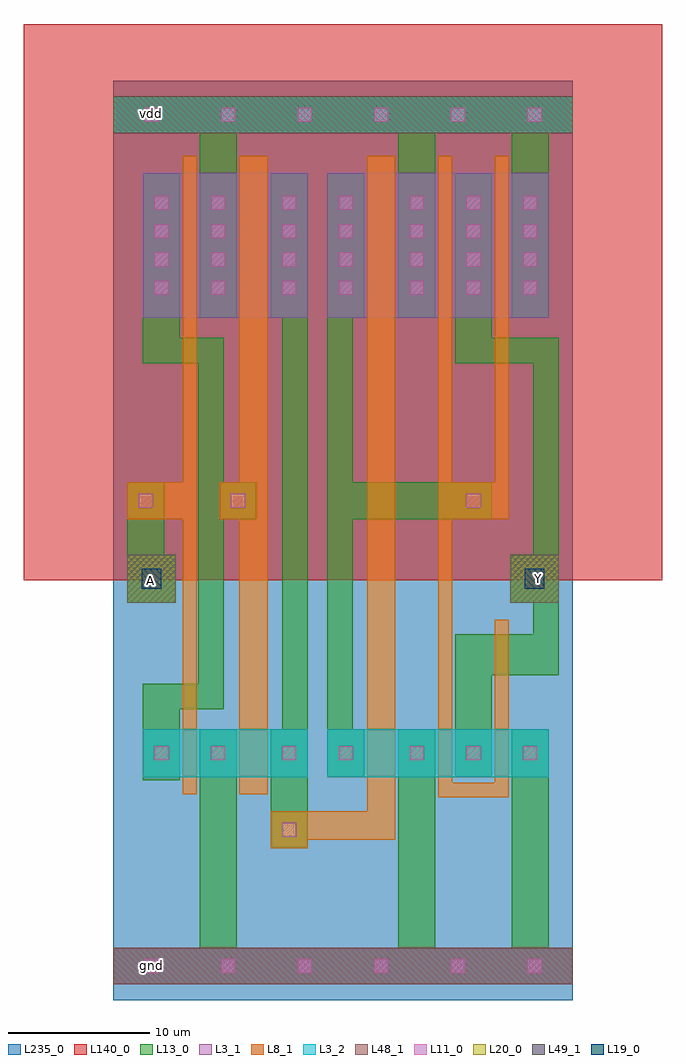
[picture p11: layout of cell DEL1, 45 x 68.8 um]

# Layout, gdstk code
import gdstk
lib = gdstk.Library(unit=1e-6, precision=1e-09)
def R(c, l, rs):  # rectangles x0, y0, x1, y1
    for r in rs: c.add(gdstk.rectangle(r[:2], r[2:], *l))
def A(c, l, x, y, w, h, nx, ny, dx, dy):  # array of equal rectangles
    R(c, l, [(x+i*dx, y+j*dy, x+i*dx+w, y+j*dy+h) for i in range(nx) for j in range(ny)])
def P(c, l, *ps):  # polygons
    for p in ps: c.add(gdstk.Polygon(p, *l))
L3_1 = (3, 1)
L3_2 = (3, 2)
L8_1 = (8, 1)
L11_0 = (11, 0)
L13_0 = (13, 0)
L19_0 = (19, 0)
L20_0 = (20, 0)
L48_1 = (48, 1)
L49_1 = (49, 1)
L140_0 = (140, 0)
L235_0 = (235, 0)

del1 = lib.new_cell('DEL1')
R(del1, L3_1, [(0,1.1,16.2,3.7), (16.2,1.1,32.4,3.7), (2.1,48.1,8.7,58.3), (6.1,48.1,13.7,58.3), (15.1,48.1,22.7,58.3), (20.1,48.1,26.7,58.3), (24.1,48.1,30.7,58.3)])
R(del1, L3_2, [(2.1,15.7,13.7,19.1), (2.1,15.7,13.7,19.1), (15.1,15.7,26.7,19.1), (15.1,15.7,26.7,19.1), (24.1,15.7,30.7,19.1), (0,61.1,16.2,63.7), (16.2,61.1,32.4,63.7)])
P(del1, L8_1, [(4.9,14.5),(4.9,33.9),(1,33.9),(1,36.5),(4.9,36.5),(4.9,59.5),(5.9,59.5),(5.9,14.5)],
  [(8.9,14.5),(8.9,33.9),(7.5,33.9),(7.5,36.5),(8.9,36.5),(8.9,59.5),(10.9,59.5),(10.9,14.5)],
  [(11.1,10.7),(11.1,13.3),(17.9,13.3),(17.9,59.5),(19.9,59.5),(19.9,11.3),(13.7,11.3),(13.7,10.7)],
  [(22.9,14.3),(22.9,59.5),(23.9,59.5),(23.9,36.5),(26.9,36.5),(26.9,59.5),(27.9,59.5),(27.9,33.9),(23.9,33.9),(23.9,15.3),(26.9,15.3),(26.9,26.8),(27.9,26.8),(27.9,14.3)])
A(del1, L11_0, 7.6, 1.9, 1, 1, 4, 1, 5.4, 0)
A(del1, L11_0, 2.9, 49.7, 1, 1, 1, 4, 0, 2)
A(del1, L11_0, 11.9, 49.7, 1, 1, 1, 4, 0, 2)
A(del1, L11_0, 15.9, 49.7, 1, 1, 1, 4, 0, 2)
A(del1, L11_0, 20.9, 49.7, 1, 1, 1, 4, 0, 2)
A(del1, L11_0, 20.9, 49.7, 1, 1, 3, 4, 4, 2)
A(del1, L11_0, 7.6, 61.9, 1, 1, 3, 1, 5.4, 0)
R(del1, L11_0, [(2.2,1.9,3.2,2.9), (7.6,1.9,8.6,2.9), (23.8,1.9,24.8,2.9), (29.2,1.9,30.2,2.9), (11.9,11.5,12.9,12.5), (2.9,16.9,3.9,17.9), (2.9,16.9,3.9,17.9), (6.9,16.9,7.9,17.9), (6.9,16.9,7.9,17.9), (11.9,16.9,12.9,17.9), (11.9,16.9,12.9,17.9), (15.9,16.9,16.9,17.9), (15.9,16.9,16.9,17.9), (20.9,16.9,21.9,17.9), (20.9,16.9,21.9,17.9), (24.9,16.9,25.9,17.9), (24.9,16.9,25.9,17.9), (28.9,16.9,29.9,17.9), (1.8,34.7,2.8,35.7), (8.3,34.7,9.3,35.7), (24.9,34.7,25.9,35.7), (6.9,49.7,7.9,50.7), (6.9,49.7,7.9,50.7), (6.9,51.7,7.9,52.7), (6.9,51.7,7.9,52.7), (6.9,53.7,7.9,54.7), (6.9,53.7,7.9,54.7), (6.9,55.7,7.9,56.7), (6.9,55.7,7.9,56.7), (2.2,61.9,3.2,62.9), (2.2,61.9,3.2,62.9), (7.6,61.9,8.6,62.9), (7.6,61.9,8.6,62.9), (7.6,61.9,8.6,62.9), (18.4,61.9,19.4,62.9), (23.8,61.9,24.8,62.9), (23.8,61.9,24.8,62.9), (23.8,61.9,24.8,62.9), (23.8,61.9,24.8,62.9), (29.2,61.9,30.2,62.9)])
P(del1, L13_0, [(0,1.1),(0,3.7),(6.1,3.7),(6.1,19.1),(8.7,19.1),(8.7,3.7),(20.1,3.7),(20.1,19.1),(22.7,19.1),(22.7,3.7),(28.1,3.7),(28.1,19.1),(30.7,19.1),(30.7,3.7),(32.4,3.7),(32.4,1.1)],
  [(1,28),(1,36.5),(3.6,36.5),(3.6,31.4),(4.4,31.4),(4.4,28)],
  [(2.1,15.5),(2.1,22.3),(6,22.3),(6,44.9),(2.1,44.9),(2.1,58.3),(4.7,58.3),(4.7,46.7),(7.8,46.7),(7.8,36.5),(10.1,36.5),(10.1,33.9),(7.8,33.9),(7.8,20.5),(4.7,20.5),(4.7,15.5)],
  [(11.1,10.7),(11.1,19.1),(11.9,19.1),(11.9,48.1),(11.1,48.1),(11.1,58.3),(13.7,58.3),(13.7,10.7)],
  [(15.1,15.7),(15.1,58.3),(17.7,58.3),(17.7,48.1),(16.9,48.1),(16.9,36.5),(26.7,36.5),(26.7,33.9),(16.9,33.9),(16.9,19.1),(17.7,19.1),(17.7,15.7)],
  [(24.1,15.7),(24.1,25.8),(29.6,25.8),(29.6,28),(28,28),(28,31.4),(29.6,31.4),(29.6,44.9),(24.1,44.9),(24.1,58.3),(26.7,58.3),(26.7,46.7),(31.4,46.7),(31.4,22.9),(26.7,22.9),(26.7,15.7)],
  [(6.1,48.1),(6.1,61.1),(0,61.1),(0,63.7),(32.4,63.7),(32.4,61.1),(30.7,61.1),(30.7,48.1),(28.1,48.1),(28.1,61.1),(22.7,61.1),(22.7,48.1),(20.1,48.1),(20.1,61.1),(8.7,61.1),(8.7,48.1)])
R(del1, L19_0, [(2,29,3.4,30.4), (29,29,30.4,30.4)])
R(del1, L20_0, [(1,28,4.4,31.4), (28,28,31.4,31.4)])
R(del1, L48_1, [(0,1.1,16.2,3.7), (16.2,1.1,32.4,3.7), (0,61.1,16.2,63.7), (16.2,61.1,32.4,63.7)])
R(del1, L49_1, [(1,28,4.4,31.4), (28,28,31.4,31.4)])
R(del1, L140_0, [(-6.3,29.6,38.7,68.8)])
R(del1, L235_0, [(0,0,32.4,64.8)])
del1.add(gdstk.Label('Y', (30,29.7), layer=49, texttype=0))
del1.add(gdstk.Label('A', (2.6,29.6), layer=49, texttype=0))
del1.add(gdstk.Label('gnd', (2.7,2.4), layer=48, texttype=0))
del1.add(gdstk.Label('vdd', (2.7,62.5), layer=48, texttype=0))

lib.write_gds('DEL1.gds')
